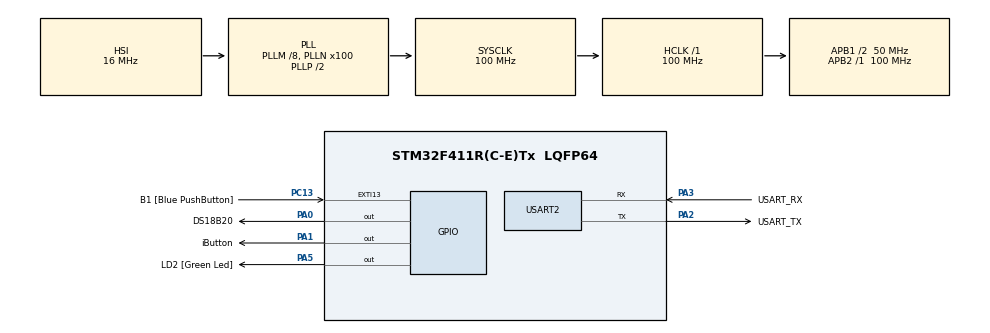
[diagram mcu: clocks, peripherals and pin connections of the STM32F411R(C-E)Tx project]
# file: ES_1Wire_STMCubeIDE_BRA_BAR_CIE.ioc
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Mcu.Family=STM32F4
Mcu.Name=STM32F411R(C-E)Tx
Mcu.Package=LQFP64
NVIC.PriorityGroup=NVIC_PRIORITYGROUP_0
PA0-WKUP.GPIO_Label=DS18B20
PA0-WKUP.GPIO_ModeDefaultOutputPP=GPIO_MODE_OUTPUT_OD
PA0-WKUP.GPIO_PuPd=GPIO_NOPULL
PA0-WKUP.GPIO_Speed=GPIO_SPEED_FREQ_VERY_HIGH
PA0-WKUP.Signal=GPIO_Output
PA1.GPIO_Label=iButton
PA1.Signal=GPIO_Output
PA13.GPIO_Label=TMS
PA13.Mode=Serial_Wire
PA13.Signal=SYS_JTMS-SWDIO
PA14.GPIO_Label=TCK
PA14.Mode=Serial_Wire
PA14.Signal=SYS_JTCK-SWCLK
PA2.GPIO_Label=USART_TX
PA2.Mode=Asynchronous
PA2.Signal=USART2_TX
PA3.GPIO_Label=USART_RX
PA3.Mode=Asynchronous
PA3.Signal=USART2_RX
PA5.GPIO_Label=LD2 [Green Led]
PA5.Signal=GPIO_Output
PB3.GPIO_Label=SWO
PB3.Signal=SYS_JTDO-SWO
PC13-ANTI_TAMP.GPIO_Label=B1 [Blue PushButton]
PC13-ANTI_TAMP.GPIO_ModeDefaultEXTI=GPIO_MODE_IT_FALLING
PC13-ANTI_TAMP.Signal=GPXTI13
PC14-OSC32_IN.Mode=LSE-External-Oscillator
PC14-OSC32_IN.Signal=RCC_OSC32_IN
PC15-OSC32_OUT.Mode=LSE-External-Oscillator
PC15-OSC32_OUT.Signal=RCC_OSC32_OUT
PH0\ -\ OSC_IN.Mode=HSE-External-Clock-Source
PH0\ -\ OSC_IN.Signal=RCC_OSC_IN
PH1\ -\ OSC_OUT.Mode=HSE-External-Clock-Source
PH1\ -\ OSC_OUT.Signal=RCC_OSC_OUT
ProjectManager.HeapSize=0x200
ProjectManager.StackSize=0x400
ProjectManager.TargetToolchain=STM32CubeIDE
RCC.48MHZClocksFreq_Value=50000000
RCC.AHBFreq_Value=100000000
RCC.APB1CLKDivider=RCC_HCLK_DIV2
RCC.APB1Freq_Value=50000000
RCC.APB1TimFreq_Value=100000000
RCC.APB2Freq_Value=100000000
RCC.APB2TimFreq_Value=100000000
RCC.CortexFreq_Value=100000000
RCC.FLatency-AdvancedSettings=FLASH_LATENCY_3
RCC.HCLKFreq_Value=100000000
RCC.HSE_VALUE=8000000
RCC.HSI_VALUE=16000000
RCC.PLLM=8
RCC.PLLN=100
RCC.SYSCLKFreq_VALUE=100000000
RCC.SYSCLKSource=RCC_SYSCLKSOURCE_PLLCLK
RCC.VCOOutputFreq_Value=200000000
TIM1.Prescaler=99
USART2.VirtualMode=VM_ASYNC
VP_TIM1_VS_ClockSourceINT.Mode=Internal
board=NUCLEO-F411RE

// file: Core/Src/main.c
/* USER CODE BEGIN Header */
/**
  ******************************************************************************
  * @file           : main.c
  * @brief          : Main program body
  ******************************************************************************
  * @attention
  *
  * Copyright (c) 2024 STMicroelectronics.
  * All rights reserved.
  *
  * This software is licensed under terms that can be found in the LICENSE file
  * in the root directory of this software component.
  * If no LICENSE file comes with this software, it is provided AS-IS.
  *
  ******************************************************************************
  */
/* USER CODE END Header */
#include "main.h"

/* USER CODE BEGIN PTD */
#define DQ			DS18B20_Pin					// Definicja pinu dla magistrali 1-Wire
												// Do wyboru:	iButton_Pin - DS1920
												// 				DS18B20_Pin - DS18B20
#define DQ_Port		DS18B20_GPIO_Port			// Definicja portu dla magistrali 1-Wire
												// Do wyboru:	iButton_GPIO_Port - DS1920
												// 				DS18B20_GPIO_Port - DS18B20
/* USER CODE END PTD */

TIM_HandleTypeDef htim1;

UART_HandleTypeDef huart2;

/* USER CODE BEGIN PV */
char SendRSData[20];						// Bufor na dane wysylane przez UART2
char DQ_Value;								// Pomocnicza zmienna do przechowywania wartości z linii DQ
uint8_t Iter = 0;
/* USER CODE END PV */

void SystemClock_Config(void);
static void MX_GPIO_Init(void);
static void MX_USART2_UART_Init(void);
static void MX_TIM1_Init(void);
/* USER CODE BEGIN PFP */
void Write_DQ(uint8_t);		// Funkcja do zapisu lini danych DQ
char Read_DQ(void);			// Funkcja do odczytu lini danych DQ
void delay_us(uint16_t);   	// Funkcja do opóźnienia poniżej 1ms
void send_command(uint8_t, char); // Funkcja wysyłająca komendę
char initialize(void);
/* USER CODE END PFP */

int main(void)
{

  /* MCU Configuration--------------------------------------------------------*/

  /* Reset of all peripherals, Initializes the Flash interface and the Systick. */
  HAL_Init();

  /* Configure the system clock */
  SystemClock_Config();

  /* Initialize all configured peripherals */
  MX_GPIO_Init();
  MX_USART2_UART_Init();
  MX_TIM1_Init();
  /* USER CODE BEGIN 2 */
  HAL_TIM_Base_Start(&htim1);
  char serial_number[64];
  char val;
  char tablica_czarow[16];
  char fireball[72];
  int ser;
  float hot;
  char crc;
  char my_crc;
  char X;
  char TH;
  char TL;
  char RK;
  /* USER CODE END 2 */

  /* Infinite loop */
  /* USER CODE BEGIN WHILE */
  while (1)
  {

//	  send_command(0x33, 0);
//	  delay_us(100);
//
//	  for(int i = 0; i < 64; i++){
//		  serial_number[i] = 0;
//		  Write_DQ(0);
//		  delay_us(10);
//		  Write_DQ(1);
//		  delay_us(10);
//		  val = Read_DQ();
//		  serial_number[i] = val;
//		  delay_us(20);
////		  sprintf(SendRSData, "%d", val);
////		  HAL_UART_Transmit( &huart2, (uint8_t *) SendRSData, strlen(SendRSData),100 );
//	  }
//	  ser = 0;
//	  for(int i = 0; i < 64; i++){
//		  ser = ser + (serial_number[i] << (i));
//	  }
//	  for(int i = 15; i >= 0; i--){
//		  tablica_czarow[i] = 0;
//		  for(int j = 0; j < 4; j++){
//			  tablica_czarow[i] += (serial_number[4*i+j]) << j;
//		  }
//		  sprintf(SendRSData, "%x", tablica_czarow[i]);
//		  HAL_UART_Transmit( &huart2, (uint8_t *) SendRSData, strlen(SendRSData),100 );
//	  }
//	  sprintf(SendRSData, "\n\r");
//	  HAL_UART_Transmit( &huart2, (uint8_t *) SendRSData, strlen(SendRSData),100 );
//	  HAL_Delay(100);
	  //33h <- instukcja do adresu
    /* USER CODE END WHILE */

    /* USER CODE BEGIN 3 */
	  send_command(0xCC, 0);

	  delay_us(100);

	  send_command(0x44, 1);

	  HAL_Delay(100);

	  send_command(0xCC, 0);

	  delay_us(50);

	  send_command(0xBE, 1);

	  delay_us(50);

	  for(int i = 0; i < 72; i++){
	  		  fireball[i] = 0;
	  		  Write_DQ(0);
	  		  delay_us(10);
	  		  Write_DQ(1);
	  		  delay_us(10);
	  		  val = Read_DQ();
	  		  fireball[i] = val;
	  		  delay_us(20);
	  //		  sprintf(SendRSData, "%d", val);
	  //		  HAL_UART_Transmit( &huart2, (uint8_t *) SendRSData, strlen(SendRSData),100 );
	  	  }
	  ser = 0;
//	  for(int i = 1; i < 10; i++){   // 11 bit
//	  		  ser = ser + (fireball[i] << (i-1));
//	  	  }
	  for(int i = 3; i < 10; i++){   //  9 bit
		  ser = ser + (fireball[i] << (i-3));
	  }
	  int sum = 0;
	  for(int i = 10; i < 16; i++){
	  		  sum = sum + fireball[i];
	  }
	  if(sum >= 3){
		  ser = ser*(-1);
	  }
	  hot = 0;
	  hot = (float)ser/2;   // 9 bit
	  sprintf(SendRSData, "%3.1f \n\r", hot);

//	  hot  = (float)ser/16; //11 bit
//	  sprintf(SendRSData, "%3.3f \n\r", hot);
	  HAL_UART_Transmit( &huart2, (uint8_t *) SendRSData, strlen(SendRSData),100 );

	  crc = 0;
	  for(int i = 64; i < 72; i++){
			  crc = crc + (fireball[i] << (i-64));
	  }

	  my_crc = 0;
	  X = 0b00000000;
	  for(int i = 0; i < 64;i++){
		  char xor = 0;
		  if(fireball[i] != X%2){
			  xor = 1;
		  }
		  X = X>>1;
		  X += xor<<7;
		  X = X^(xor*0b00001100);
	  }
	  my_crc = X;

	  sprintf(SendRSData, "%d |-| %d\n\r", my_crc, crc);
	  HAL_UART_Transmit( &huart2, (uint8_t *) SendRSData, strlen(SendRSData),100 );

	  for(int i = 16; i < 24; i++){
		  TH = TH + (fireball[i] << (i-16));
	  }
	  for(int i = 24; i < 32; i++){
		  TL = TL + (fireball[i] << (i-24));
	  }

	  RK = 0b00011111;

	  send_command(0xCC, 0);
	  delay_us(50);
	  send_command(0x4E, 1);
	  delay_us(50);
	  send_command(TH, 1);
	  send_command(TL, 1);
	  send_command(RK, 1);

  }
  /* USER CODE END 3 */
}

void SystemClock_Config(void)
{
  RCC_OscInitTypeDef RCC_OscInitStruct = {0};
  RCC_ClkInitTypeDef RCC_ClkInitStruct = {0};

  /** Configure the main internal regulator output voltage
  */
  __HAL_RCC_PWR_CLK_ENABLE();
  __HAL_PWR_VOLTAGESCALING_CONFIG(PWR_REGULATOR_VOLTAGE_SCALE1);
  /** Initializes the RCC Oscillators according to the specified parameters
  * in the RCC_OscInitTypeDef structure.
  */
  RCC_OscInitStruct.OscillatorType = RCC_OSCILLATORTYPE_HSI;
  RCC_OscInitStruct.HSIState = RCC_HSI_ON;
  RCC_OscInitStruct.HSICalibrationValue = RCC_HSICALIBRATION_DEFAULT;
  RCC_OscInitStruct.PLL.PLLState = RCC_PLL_ON;
  RCC_OscInitStruct.PLL.PLLSource = RCC_PLLSOURCE_HSI;
  RCC_OscInitStruct.PLL.PLLM = 8;
  RCC_OscInitStruct.PLL.PLLN = 100;
  RCC_OscInitStruct.PLL.PLLP = RCC_PLLP_DIV2;
  RCC_OscInitStruct.PLL.PLLQ = 4;
  if (HAL_RCC_OscConfig(&RCC_OscInitStruct) != HAL_OK)
  {
    Error_Handler();
  }
  /** Initializes the CPU, AHB and APB buses clocks
  */
  RCC_ClkInitStruct.ClockType = RCC_CLOCKTYPE_HCLK|RCC_CLOCKTYPE_SYSCLK
                              |RCC_CLOCKTYPE_PCLK1|RCC_CLOCKTYPE_PCLK2;
  RCC_ClkInitStruct.SYSCLKSource = RCC_SYSCLKSOURCE_PLLCLK;
  RCC_ClkInitStruct.AHBCLKDivider = RCC_SYSCLK_DIV1;
  RCC_ClkInitStruct.APB1CLKDivider = RCC_HCLK_DIV2;
  RCC_ClkInitStruct.APB2CLKDivider = RCC_HCLK_DIV1;

  if (HAL_RCC_ClockConfig(&RCC_ClkInitStruct, FLASH_LATENCY_3) != HAL_OK)
  {
    Error_Handler();
  }
}

static void MX_TIM1_Init(void)
{

  TIM_ClockConfigTypeDef sClockSourceConfig = {0};
  TIM_MasterConfigTypeDef sMasterConfig = {0};

  htim1.Instance = TIM1;
  htim1.Init.Prescaler = 99;
  htim1.Init.CounterMode = TIM_COUNTERMODE_UP;
  htim1.Init.Period = 65535;
  htim1.Init.ClockDivision = TIM_CLOCKDIVISION_DIV1;
  htim1.Init.RepetitionCounter = 0;
  htim1.Init.AutoReloadPreload = TIM_AUTORELOAD_PRELOAD_DISABLE;
  if (HAL_TIM_Base_Init(&htim1) != HAL_OK)
  {
    Error_Handler();
  }
  sClockSourceConfig.ClockSource = TIM_CLOCKSOURCE_INTERNAL;
  if (HAL_TIM_ConfigClockSource(&htim1, &sClockSourceConfig) != HAL_OK)
  {
    Error_Handler();
  }
  sMasterConfig.MasterOutputTrigger = TIM_TRGO_RESET;
  sMasterConfig.MasterSlaveMode = TIM_MASTERSLAVEMODE_DISABLE;
  if (HAL_TIMEx_MasterConfigSynchronization(&htim1, &sMasterConfig) != HAL_OK)
  {
    Error_Handler();
  }

}

static void MX_USART2_UART_Init(void)
{

  huart2.Instance = USART2;
  huart2.Init.BaudRate = 115200;
  huart2.Init.WordLength = UART_WORDLENGTH_8B;
  huart2.Init.StopBits = UART_STOPBITS_1;
  huart2.Init.Parity = UART_PARITY_NONE;
  huart2.Init.Mode = UART_MODE_TX_RX;
  huart2.Init.HwFlowCtl = UART_HWCONTROL_NONE;
  huart2.Init.OverSampling = UART_OVERSAMPLING_16;
  if (HAL_UART_Init(&huart2) != HAL_OK)
  {
    Error_Handler();
  }

}

static void MX_GPIO_Init(void)
{
  GPIO_InitTypeDef GPIO_InitStruct = {0};

  /* GPIO Ports Clock Enable */
  __HAL_RCC_GPIOC_CLK_ENABLE();
  __HAL_RCC_GPIOH_CLK_ENABLE();
  __HAL_RCC_GPIOA_CLK_ENABLE();
  __HAL_RCC_GPIOB_CLK_ENABLE();

  /*Configure GPIO pin Output Level */
  HAL_GPIO_WritePin(GPIOA, DS18B20_Pin|iButton_Pin|LD2_Pin, GPIO_PIN_RESET);

  /*Configure GPIO pin : B1_Pin */
  GPIO_InitStruct.Pin = B1_Pin;
  GPIO_InitStruct.Mode = GPIO_MODE_IT_FALLING;
  GPIO_InitStruct.Pull = GPIO_NOPULL;
  HAL_GPIO_Init(B1_GPIO_Port, &GPIO_InitStruct);

  /*Configure GPIO pin : DS18B20_Pin */
  GPIO_InitStruct.Pin = DS18B20_Pin;
  GPIO_InitStruct.Mode = GPIO_MODE_OUTPUT_OD;
  GPIO_InitStruct.Pull = GPIO_NOPULL;
  GPIO_InitStruct.Speed = GPIO_SPEED_FREQ_VERY_HIGH;
  HAL_GPIO_Init(DS18B20_GPIO_Port, &GPIO_InitStruct);

  /*Configure GPIO pins : iButton_Pin LD2_Pin */
  GPIO_InitStruct.Pin = iButton_Pin|LD2_Pin;
  GPIO_InitStruct.Mode = GPIO_MODE_OUTPUT_PP;
  GPIO_InitStruct.Pull = GPIO_NOPULL;
  GPIO_InitStruct.Speed = GPIO_SPEED_FREQ_LOW;
  HAL_GPIO_Init(GPIOA, &GPIO_InitStruct);

}

/* USER CODE BEGIN 4 */
// Zapis linii danych magistrali 1-Wire
void Write_DQ(uint8_t DQValue)
{
	if (DQValue == 0) HAL_GPIO_WritePin(DQ_Port,DQ,GPIO_PIN_RESET);
	else HAL_GPIO_WritePin(DQ_Port,DQ,GPIO_PIN_SET);
}
// END - Zapis linii danych

// Odczyt linii danych magistrali 1-Wire
char Read_DQ(void)
{
	return HAL_GPIO_ReadPin(DQ_Port,DQ);
}
// END - Odczyt linii danych

// Init
char initialize(void)
{
	Write_DQ(0);
	delay_us(1000);
	Write_DQ(1);
	delay_us(90);
	DQ_Value = Read_DQ();
	delay_us(1000);
	sprintf(SendRSData, "PUE-2020: %d \n\r", DQ_Value);
	HAL_UART_Transmit( &huart2, (uint8_t *) SendRSData, strlen(SendRSData),100 );
	return 1 - DQ_Value;
}
// END - Init

//  Opóżnienie poniżej 1ms
void delay_us(uint16_t us)
{
	__HAL_TIM_SetCounter(&htim1,0);
	while(__HAL_TIM_GetCounter(&htim1) < us){};
}
// END - Opóźnienie

// Wysyłanie komendy
void send_command(uint8_t command, char second)
{
	if(second || initialize()){
		for(int i = 0; i < 8; i++){
				Write_DQ(0);
				delay_us(10);
				if((command >> i) % 2){
					Write_DQ(1);
					delay_us(60);
				}else{
					delay_us(60);
				}
				Write_DQ(1);
				delay_us(10);
			}
	}else{
		sprintf(SendRSData, "JEST_ZLE \n\r");
		HAL_UART_Transmit( &huart2, (uint8_t *) SendRSData, strlen(SendRSData),100 );
	}

}
// END - komenda
/* USER CODE END 4 */

void Error_Handler(void)
{
  __disable_irq();
  while (1)
  {
  }
}
